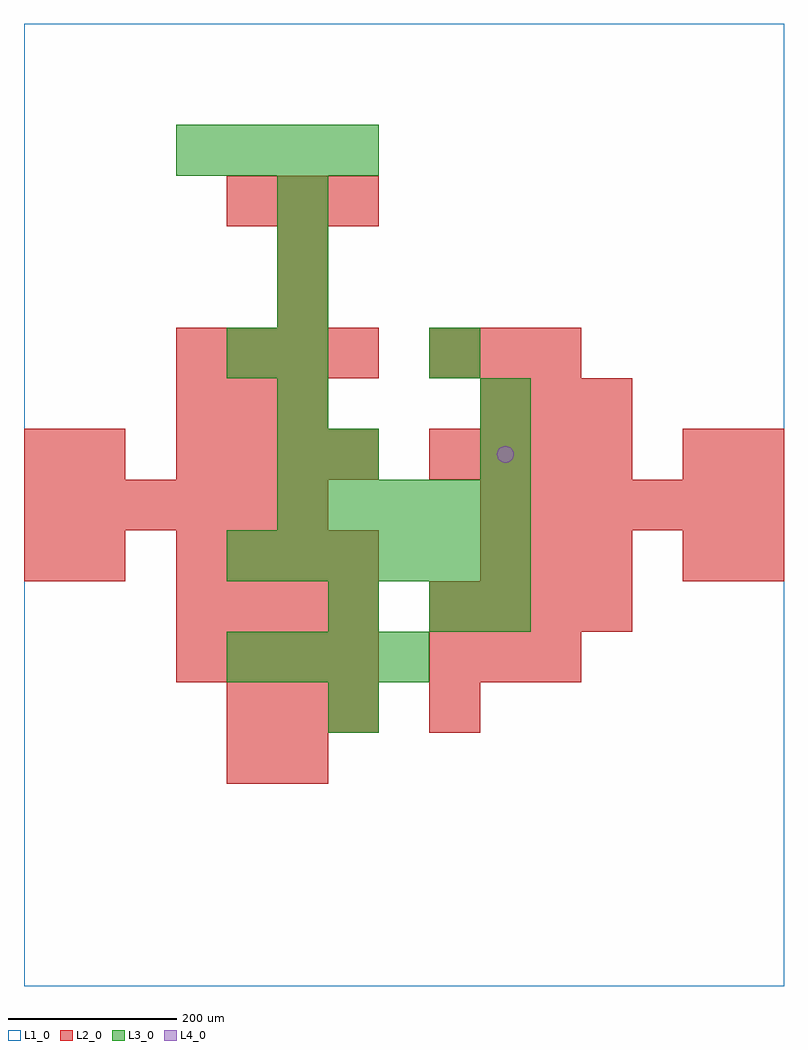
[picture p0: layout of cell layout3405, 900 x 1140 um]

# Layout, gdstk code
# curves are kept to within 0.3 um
import gdstk
lib = gdstk.Library(unit=1e-6, precision=1e-09)
def R(c, l, rs):  # rectangles x0, y0, x1, y1
    for r in rs: c.add(gdstk.rectangle(r[:2], r[2:], *l))
def A(c, l, x, y, w, h, nx, ny, dx, dy):  # array of equal rectangles
    R(c, l, [(x+i*dx, y+j*dy, x+i*dx+w, y+j*dy+h) for i in range(nx) for j in range(ny)])
def P(c, l, *ps):  # polygons
    for p in ps: c.add(gdstk.Polygon(p, *l))
L1_0 = (1, 0)
L2_0 = (2, 0)
L3_0 = (3, 0)
L4_0 = (4, 0)

layout3405 = lib.new_cell('layout3405')
R(layout3405, L1_0, [(0,0,900,1140)])
A(layout3405, L2_0, 240, 300, 60, 60, 3, 2, 60, 600)
A(layout3405, L2_0, 180, 360, 60, 60, 4, 3, 60, 60)
A(layout3405, L2_0, 480, 360, 60, 60, 3, 2, 60, 360)
A(layout3405, L2_0, 480, 420, 60, 60, 4, 2, 60, 180)
A(layout3405, L2_0, 540, 480, 60, 60, 3, 2, 60, 180)
A(layout3405, L2_0, 0, 540, 60, 60, 6, 1, 60, 0)
A(layout3405, L2_0, 540, 540, 60, 60, 6, 1, 60, 0)
A(layout3405, L2_0, 180, 600, 60, 60, 4, 2, 60, 120)
A(layout3405, L2_0, 180, 660, 60, 60, 3, 1, 60, 0)
R(layout3405, L2_0, [(240,240,300,300), (300,240,360,300), (480,300,540,360), (0,480,60,540), (60,480,120,540), (780,480,840,540), (840,480,900,540), (0,600,60,660), (60,600,120,660), (780,600,840,660), (840,600,900,660), (300,780,360,840), (300,840,360,900)])
A(layout3405, L3_0, 240, 360, 60, 60, 4, 1, 60, 0)
A(layout3405, L3_0, 240, 480, 60, 60, 6, 1, 60, 0)
A(layout3405, L3_0, 300, 540, 60, 60, 5, 1, 60, 0)
A(layout3405, L3_0, 300, 600, 60, 60, 1, 6, 0, 60)
A(layout3405, L3_0, 180, 960, 60, 60, 4, 1, 60, 0)
R(layout3405, L3_0, [(360,300,420,360), (360,420,420,480), (480,420,540,480), (540,420,600,480), (360,600,420,660), (540,600,600,660), (540,660,600,720), (240,720,300,780), (480,720,540,780)])
P(layout3405, L4_0, [(580,630),(579.239,633.827),(577.071,637.071),(573.827,639.239),(570,640),(566.173,639.239),(562.929,637.071),(560.761,633.827),(560,630),(560.761,626.173),(562.929,622.929),(566.173,620.761),(570,620),(573.827,620.761),(577.071,622.929),(579.239,626.173)])

lib.write_gds('layout3405.gds')
